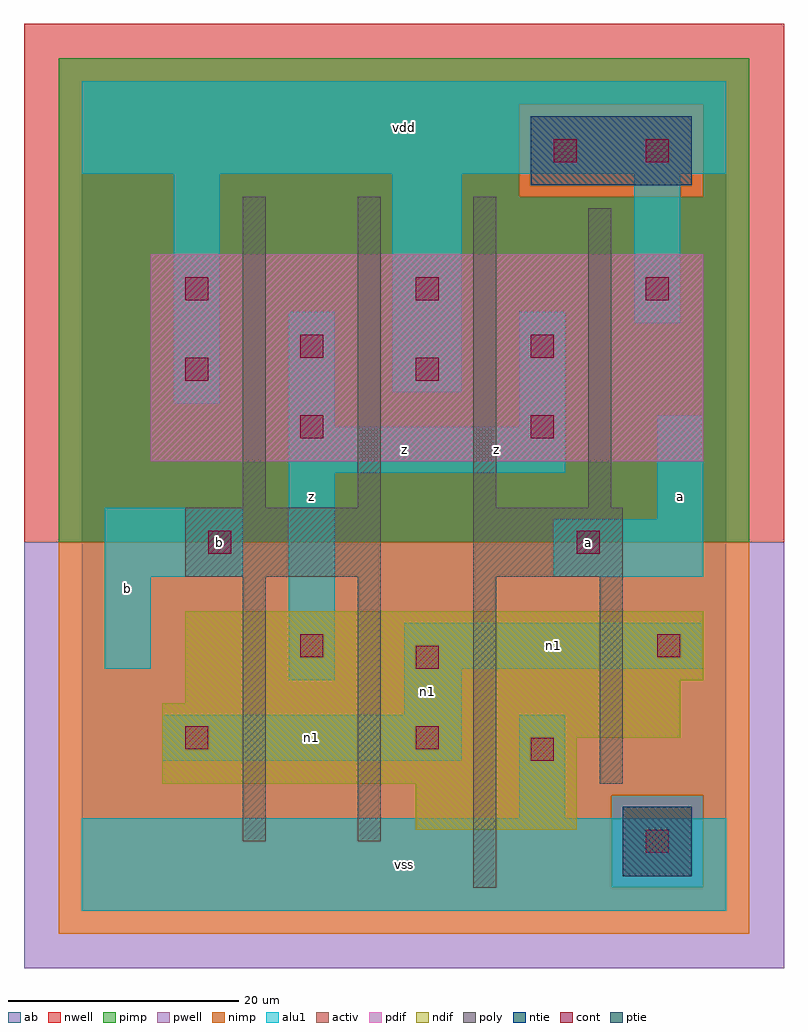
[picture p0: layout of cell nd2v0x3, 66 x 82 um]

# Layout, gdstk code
import gdstk
lib = gdstk.Library(unit=1e-6, precision=1e-09)
def R(c, l, rs):  # rectangles x0, y0, x1, y1
    for r in rs: c.add(gdstk.rectangle(r[:2], r[2:], *l))
def A(c, l, x, y, w, h, nx, ny, dx, dy):  # array of equal rectangles
    R(c, l, [(x+i*dx, y+j*dy, x+i*dx+w, y+j*dy+h) for i in range(nx) for j in range(ny)])
ndif = (3, 0)
pdif = (4, 0)
ntie = (5, 0)
ptie = (6, 0)
cont = (25, 0)
pwell = (41, 0)
nwell = (42, 0)
activ = (43, 0)
pimp = (44, 0)
nimp = (45, 0)
poly = (46, 0)
alu1 = (49, 0)
ab = (63, 0)

nd2v0x3 = lib.new_cell('nd2v0x3')
R(nd2v0x3, ndif, [(29,7,43,11), (7,11,43,15), (7,15,52,18), (9,18,52,20), (9,20,54,26)])
R(nd2v0x3, pdif, [(6,39,54,57)])
R(nd2v0x3, ntie, [(39,63,53,69)])
R(nd2v0x3, ptie, [(47,3,53,9)])
A(nd2v0x3, cont, 9, 53, 2, 2, 3, 1, 20, 0)
R(nd2v0x3, cont, [(49,5,51,7), (39,13,41,15), (9,14,11,16), (29,14,31,16), (29,21,31,23), (19,22,21,24), (50,22,52,24), (11,31,13,33), (43,31,45,33), (19,41,21,43), (39,41,41,43), (9,46,11,48), (29,46,31,48), (19,48,21,50), (39,48,41,50), (41,65,43,67), (49,65,51,67)])
R(nd2v0x3, pwell, [(-5,-5,61,32)])
R(nd2v0x3, nwell, [(-5,32,61,77)])
R(nd2v0x3, activ, [(47,3,53,9), (29,7,43,11), (7,11,43,15), (7,15,52,18), (9,18,52,20), (9,20,54,26), (6,39,54,57), (39,63,53,69)])
R(nd2v0x3, pimp, [(46,2,54,10), (-2,32,58,62), (-2,62,38,70), (54,62,58,70), (-2,70,58,74)])
R(nd2v0x3, nimp, [(-2,-2,58,2), (-2,2,46,10), (54,2,58,10), (-2,10,58,32), (38,62,54,70)])
A(nd2v0x3, poly, 14, 35, 2, 27, 3, 1, 10, 0)
R(nd2v0x3, poly, [(34,2,36,29), (14,6,16,29), (24,6,26,29), (45,11,47,29), (9,29,26,35), (34,29,47,35), (44,35,46,61)])
R(nd2v0x3, alu1, [(0,0,56,8), (38,8,42,17), (7,13,33,17), (28,17,33,21), (18,20,22,38), (2,21,6,29), (28,21,54,25), (2,29,14,35), (41,29,54,34), (50,34,54,43), (18,38,42,42), (18,42,22,52), (38,42,42,52), (8,44,12,64), (27,45,33,64), (48,51,52,64), (0,64,56,72)])
R(nd2v0x3, ab, [(0,0,56,72)])
nd2v0x3.add(gdstk.Label('n1', (20,15), layer=49, texttype=0))
nd2v0x3.add(gdstk.Label('n1', (30,19), layer=49, texttype=0))
nd2v0x3.add(gdstk.Label('n1', (41,23), layer=49, texttype=0))
nd2v0x3.add(gdstk.Label('b', (4,28), layer=49, texttype=0))
nd2v0x3.add(gdstk.Label('b', (12,32), layer=49, texttype=0))
nd2v0x3.add(gdstk.Label('z', (20,36), layer=49, texttype=0))
nd2v0x3.add(gdstk.Label('vss', (28,4), layer=49, texttype=0))
nd2v0x3.add(gdstk.Label('z', (36,40), layer=49, texttype=0))
nd2v0x3.add(gdstk.Label('z', (28,40), layer=49, texttype=0))
nd2v0x3.add(gdstk.Label('vdd', (28,68), layer=49, texttype=0))
nd2v0x3.add(gdstk.Label('a', (44,32), layer=49, texttype=0))
nd2v0x3.add(gdstk.Label('a', (52,36), layer=49, texttype=0))

lib.write_gds('nd2v0x3.gds')
